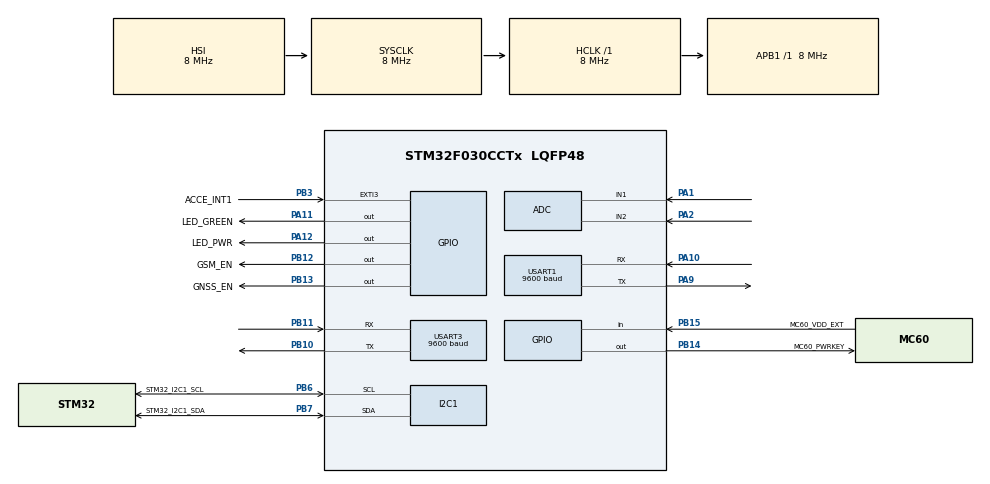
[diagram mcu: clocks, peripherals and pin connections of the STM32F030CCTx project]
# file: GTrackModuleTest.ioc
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Mcu.Family=STM32F0
Mcu.Name=STM32F030CCTx
Mcu.Package=LQFP48
NVIC.ADC1_IRQn=true\:0\:0\:false\:false\:true\:true\:true\:true
NVIC.EXTI2_3_IRQn=true\:0\:0\:false\:false\:true\:true\:true\:true
NVIC.TIM3_IRQn=true\:0\:0\:false\:false\:true\:true\:true\:true
NVIC.USART1_IRQn=true\:1\:0\:true\:false\:true\:true\:true\:true
NVIC.USART3_6_IRQn=true\:1\:0\:true\:false\:true\:true\:true\:true
PA1.Mode=IN1
PA1.Signal=ADC_IN1
PA10.Mode=Asynchronous
PA10.Signal=USART1_RX
PA11.GPIO_Label=LED_GREEN
PA11.PinState=GPIO_PIN_RESET
PA11.Signal=GPIO_Output
PA12.GPIO_Label=LED_PWR
PA12.GPIO_PuPd=GPIO_NOPULL
PA12.PinState=GPIO_PIN_RESET
PA12.Signal=GPIO_Output
PA13.Mode=Serial_Wire
PA13.Signal=SYS_SWDIO
PA14.Mode=Serial_Wire
PA14.Signal=SYS_SWCLK
PA2.Mode=IN2
PA2.Signal=ADC_IN2
PA9.Mode=Asynchronous
PA9.Signal=USART1_TX
PB10.Mode=Asynchronous
PB10.Signal=USART3_TX
PB11.Mode=Asynchronous
PB11.Signal=USART3_RX
PB12.GPIO_Label=GSM_EN
PB12.Signal=GPIO_Output
PB13.GPIO_Label=GNSS_EN
PB13.Signal=GPIO_Output
PB14.GPIO_Label=MC60_PWRKEY
PB14.Signal=GPIO_Output
PB15.GPIO_Label=MC60_VDD_EXT
PB15.GPIO_PuPd=GPIO_PULLDOWN
PB15.Signal=GPIO_Input
PB3.GPIO_Label=ACCE_INT1
PB3.GPIO_ModeDefaultEXTI=GPIO_MODE_IT_RISING
PB3.GPIO_PuPd=GPIO_PULLUP
PB3.Signal=GPXTI3
PB6.GPIO_Label=STM32_I2C1_SCL
PB6.Mode=I2C
PB6.Signal=I2C1_SCL
PB7.GPIO_Label=STM32_I2C1_SDA
PB7.Mode=I2C
PB7.Signal=I2C1_SDA
ProjectManager.HeapSize=0x200
ProjectManager.StackSize=0x400
ProjectManager.TargetToolchain=MDK-ARM V5.32
RCC.AHBFreq_Value=8000000
RCC.APB1Freq_Value=8000000
RCC.APB1TimFreq_Value=8000000
RCC.HCLKFreq_Value=8000000
RCC.SYSCLKFreq_VALUE=8000000
TIM3.Period=20
TIM3.Prescaler=8000 - 1
USART1.BaudRate=9600
USART1.Mode=MODE_TX_RX
USART1.VirtualMode-Asynchronous=VM_ASYNC
USART3.BaudRate=9600
USART3.VirtualMode-Asynchronous=VM_ASYNC
VP_TIM3_VS_ClockSourceINT.Mode=Internal
board=custom

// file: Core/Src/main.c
/* USER CODE BEGIN Header */
/**
 ******************************************************************************
 * @file           : main.c
 * @brief          : Main program body
 ******************************************************************************
 * @attention
 *
 * Copyright (c) 2023 STMicroelectronics.
 * All rights reserved.
 *
 * This software is licensed under terms that can be found in the LICENSE file
 * in the root directory of this software component.
 * If no LICENSE file comes with this software, it is provided AS-IS.
 *
 ******************************************************************************
 */
/* USER CODE END Header */
#include "main.h"
#include "adc.h"
#include "i2c.h"
#include "tim.h"
#include "usart.h"
#include "gpio.h"

/* USER CODE BEGIN Includes */
#include <stdio.h>

#include "signal/signal_pal.h"
#include "timer/timer_hcl.h"
#include "usart/usart_hcl.h"
#include "gnss/mc60_gnss.h"
#include "bma253/bma253_pal.h"
#include "gpio/gpio_hcl.h"
#include "mc60/mc60_pal.h"
#include "gtrack_nal.h"
#include "gtrack_ual.h"
#include "display/display_pal.h"
#include "supplier/supplier_pal.h"
////#include "test_bma253.h"
/* USER CODE END Includes */

void SystemClock_Config(void);

/* USER CODE BEGIN 0 */
void HAL_GPIO_EXTI_Callback(uint16_t GPIO_Pin)
{
  PAL_DISPLAY_Show("\nEXT INTTERUPT DETECTED!\n");
}
/* USER CODE END 0 */

int main(void)
{

  /* MCU Configuration--------------------------------------------------------*/

  /* Reset of all peripherals, Initializes the Flash interface and the Systick. */
  HAL_Init();

  /* Configure the system clock */
  SystemClock_Config();

  /* Initialize all configured peripherals */
  MX_GPIO_Init();
  MX_USART1_UART_Init();
  MX_USART3_UART_Init();
  MX_TIM3_Init();
  MX_I2C1_Init();
  MX_ADC_Init();
  /* USER CODE BEGIN 2 */

  HCL_GPIO_Init();
  HCL_UART_Init(huart_terminal);
  HCL_UART_Init(huart_mc60);
  HCL_TIMER_Init(&htim3);

  PAL_BMA253_Init();
  UAL_GTRACK_Init();
  /* USER CODE END 2 */

  /* Infinite loop */
  /* USER CODE BEGIN WHILE */
  HCL_UART_StartReceive(huart_terminal);
  HCL_UART_StartReceive(huart_mc60);
  //UAL_GTRACK_GeoTrack_Enable();

  uint32_t pre = HAL_GetTick();
  uint32_t cur = pre;
  bool isRunning = true;
  char data = 0;
  bool mc60LastState = false, mc60CurState = false;

  while (1) {
    /* USER CODE END WHILE */

    /* USER CODE BEGIN 3 */
    PAL_DISPLAY_Show("\nRead data\n");
    PAL_DISPLAY_ShowNumber(BMA253_HWI_get_slope_en(&pal_bma253, BMA253_SLOPE_X_INTR));
    BMA253_HWI_set_slope_en(&pal_bma253, BMA253_SLOPE_X_INTR, BMA253_INTR_ENABLE);
    PAL_DISPLAY_Show("\n");
    PAL_DISPLAY_ShowNumber(BMA253_HWI_get_slope_en(&pal_bma253, BMA253_SLOPE_X_INTR));

    HAL_Delay(2000);

    continue;
    cur = HAL_GetTick();
    mc60CurState = MC60_ITF_IsRunning(&pal_mc60.core);

    if (HCL_UART_IsAvailable(huart_terminal)) {
      data = HCL_UART_InChar(huart_terminal);
      HCL_UART_OutChar(huart_mc60, data);
    }
    PAL_UART_FlushToUART_Char(huart_mc60, huart_terminal);

    if (data == '#') {
      data = 0;
      PAL_DISPLAY_ShowNumber(MC60_ITF_GNSS_checkPower(&pal_mc60.core));
      isRunning = !isRunning;
      if (isRunning == false) {
        PAL_DISPLAY_Show("\nPAUSE RUNNING");
        PAL_MC60_PowerOn(MC60_POWER_OFF);
      }
      else  {
        PAL_DISPLAY_Show("\nCONTINUE RUNNING");
      }
    }

    if (!isTimerRunning)
      PAL_SIGNAL_LED_SetState(!mc60CurState);

    if (!isRunning) {
      continue;
    }

    continue;

    if (!mc60CurState) {
      UAL_GTRACK_GeoTrack_Enable();
    }

    if (cur - pre > 15000) {
      // HCL_UART_OutChar(huart_mc60, '.');
      UAL_GTRACK_GeoTrack_GetMetric();
      pre = cur;
    }
  }
  /* USER CODE END 3 */
}

void SystemClock_Config(void)
{
  RCC_OscInitTypeDef RCC_OscInitStruct = {0};
  RCC_ClkInitTypeDef RCC_ClkInitStruct = {0};
  RCC_PeriphCLKInitTypeDef PeriphClkInit = {0};

  /** Initializes the RCC Oscillators according to the specified parameters
  * in the RCC_OscInitTypeDef structure.
  */
  RCC_OscInitStruct.OscillatorType = RCC_OSCILLATORTYPE_HSI|RCC_OSCILLATORTYPE_HSI14;
  RCC_OscInitStruct.HSIState = RCC_HSI_ON;
  RCC_OscInitStruct.HSI14State = RCC_HSI14_ON;
  RCC_OscInitStruct.HSICalibrationValue = RCC_HSICALIBRATION_DEFAULT;
  RCC_OscInitStruct.HSI14CalibrationValue = 16;
  RCC_OscInitStruct.PLL.PLLState = RCC_PLL_NONE;
  if (HAL_RCC_OscConfig(&RCC_OscInitStruct) != HAL_OK)
  {
    Error_Handler();
  }

  /** Initializes the CPU, AHB and APB buses clocks
  */
  RCC_ClkInitStruct.ClockType = RCC_CLOCKTYPE_HCLK|RCC_CLOCKTYPE_SYSCLK
                              |RCC_CLOCKTYPE_PCLK1;
  RCC_ClkInitStruct.SYSCLKSource = RCC_SYSCLKSOURCE_HSI;
  RCC_ClkInitStruct.AHBCLKDivider = RCC_SYSCLK_DIV1;
  RCC_ClkInitStruct.APB1CLKDivider = RCC_HCLK_DIV1;

  if (HAL_RCC_ClockConfig(&RCC_ClkInitStruct, FLASH_LATENCY_0) != HAL_OK)
  {
    Error_Handler();
  }
  PeriphClkInit.PeriphClockSelection = RCC_PERIPHCLK_USART1|RCC_PERIPHCLK_I2C1;
  PeriphClkInit.Usart1ClockSelection = RCC_USART1CLKSOURCE_PCLK1;
  PeriphClkInit.I2c1ClockSelection = RCC_I2C1CLKSOURCE_HSI;
  if (HAL_RCCEx_PeriphCLKConfig(&PeriphClkInit) != HAL_OK)
  {
    Error_Handler();
  }
}

void Error_Handler(void)
{
  __disable_irq();
  while (1) {
  }
}

#ifdef  USE_FULL_ASSERT
/**
  * @brief  Reports the name of the source file and the source line number
  *         where the assert_param error has occurred.
  * @param  file: pointer to the source file name
  * @param  line: assert_param error line source number
  * @retval None
  */
void assert_failed(uint8_t *file, uint32_t line)
{
  /* USER CODE BEGIN 6 */
  /* User can add his own implementation to report the file name and line
     number, ex: printf("Wrong parameters value: file %s on line %d\r\n", file,
     line) */
  /* USER CODE END 6 */
}
#endif /* USE_FULL_ASSERT */
